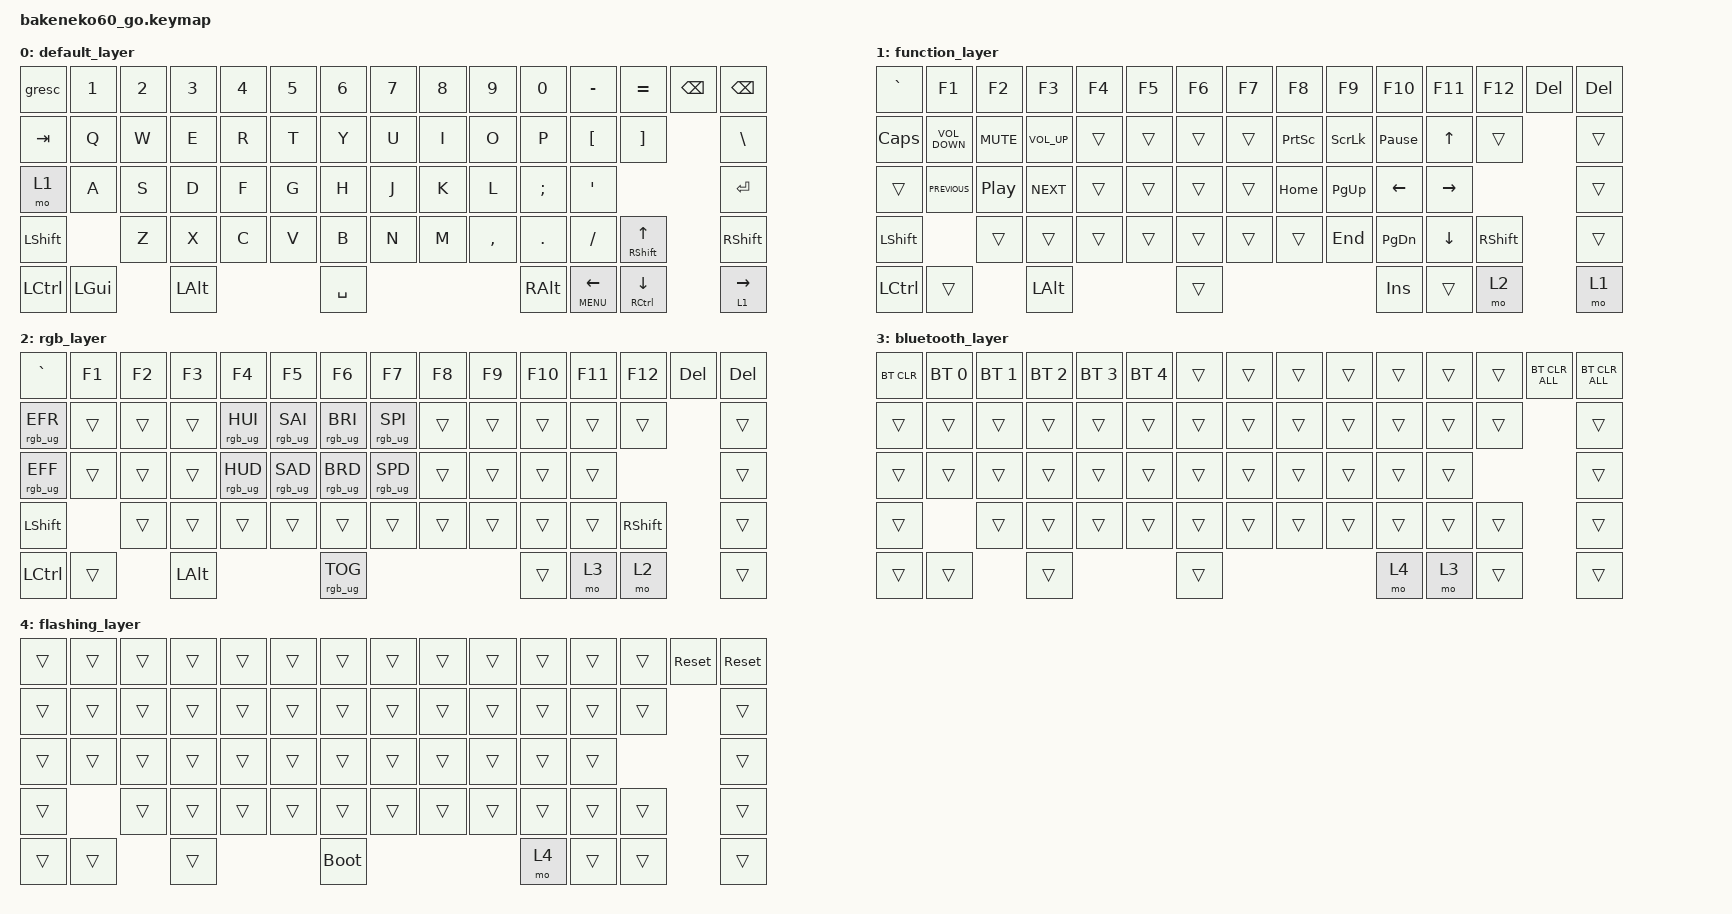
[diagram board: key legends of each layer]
/*
 * Copyright (c) 2023 Andrew Kannan
 *
 * SPDX-License-Identifier: MIT
 */

#include <behaviors.dtsi>
#include <dt-bindings/zmk/bt.h>
#include <dt-bindings/zmk/keys.h>
#include <dt-bindings/zmk/rgb.h>

/ {
    keymap {
        compatible = "zmk,keymap";

        default_layer {
            // ------------------------------------------------------------------------------------------
            // | ESC |  1  |  2  |  3  |  4  |  5  |  6  |  7  |  8  |  9  |  0  |  -  |  =  | BKSP|BKSP|
            // | TAB  |  Q  |  W  |  E  |  R  |  T  |  Y  |  U  |  I  |  O  |  P  |  [  |  ]  |   "|"   |
            // | CAPS  |  A  |  S  |  D  |  F  |  G  |  H  |  J  |  K  |  L  |  ;  |  '  |     ENTER    |
            // |  SHIFT  |  Z  |  X  |  C  |  V  |  B  |  N  |  M  |  ,  |  .  |  /  |  SHIFT  | MO(1)  |
            // |  CTL  |  WIN  |  ALT  |            SPACE              |  ALT  |  WIN  |  MO(1) |  CTL  |
            // ------------------------------------------------------------------------------------------

            bindings = <
&gresc     &kp N1    &kp N2  &kp N3    &kp N4  &kp N5  &kp N6     &kp N7  &kp N8  &kp N9     &kp N0    &kp MINUS        &kp EQUAL           &kp BSPC  &kp BSPC
&kp TAB    &kp Q     &kp W   &kp E     &kp R   &kp T   &kp Y      &kp U   &kp I   &kp O      &kp P     &kp LBKT         &kp RBKT                      &kp BSLH
&mo 1      &kp A     &kp S   &kp D     &kp F   &kp G   &kp H      &kp J   &kp K   &kp L      &kp SEMI  &kp SQT                                        &kp RET
&kp LSHFT            &kp Z   &kp X     &kp C   &kp V   &kp B      &kp N   &kp M   &kp COMMA  &kp DOT   &kp FSLH         &mt RSHFT UP_ARROW            &kp RIGHT_SHIFT
&kp LCTRL  &kp LGUI          &kp LALT                  &kp SPACE                             &kp RALT  &mt C_MENU LEFT  &mt RCTRL DOWN                &lt 1 RIGHT
            >;
        };

        function_layer {
            bindings = <
&kp GRAVE         &kp F1             &kp F2            &kp F3           &kp F4  &kp F5  &kp F6  &kp F7  &kp F8           &kp F9          &kp F10          &kp F11       &kp F12          &kp DELETE  &kp DEL
&kp CAPS          &kp C_VOLUME_DOWN  &kp C_MUTE        &kp C_VOLUME_UP  &trans  &trans  &trans  &trans  &kp PRINTSCREEN  &kp SCROLLLOCK  &kp PAUSE_BREAK  &kp UP_ARROW  &trans                       &trans
&trans            &kp C_PREVIOUS     &kp C_PLAY_PAUSE  &kp C_NEXT       &trans  &trans  &trans  &trans  &kp HOME         &kp PG_UP       &kp LEFT         &kp RIGHT                                  &trans
&kp LEFT_SHIFT                       &trans            &trans           &trans  &trans  &trans  &trans  &trans           &kp END         &kp PAGE_DOWN    &kp DOWN      &kp RIGHT_SHIFT              &trans
&kp LEFT_CONTROL  &trans                               &kp LEFT_ALT                     &trans                                           &kp INSERT       &trans        &mo 2                        &mo 1
            >;
        };

        rgb_layer {
            // ------------------------------------------------------------------------------------------------
            // |    `   | F1  | F2  | F3  | F4  | F5  | F6  | F7  | F8  | F9  | F10  | F11 | F12 |     | DEL  |
            // | EFCT REV|   |  UP |   | HUEUP | SATUP | BRIUP | SPDUP |      |  PGUP |    |     |    |       |
            // | EFCT FWD | LT |  DN  | RT | HUEDN | SATDN | BRIDN | SPDDN | HOME | PGDN | END  |  | BOOTLDR  |
            // |             |     |      |      |     |     |     |     |     |     |     |         |        |
            // |         |      |      |             TOG RGB                | PRT SCR |       |       |  MO(2)|
            // ------------------------------------------------------------------------------------------------

            bindings = <
&kp GRAVE         &kp F1  &kp F2  &kp F3        &kp F4           &kp F5           &kp F6           &kp F7           &kp F8  &kp F9  &kp F10  &kp F11  &kp F12          &kp DEL  &kp DEL
&rgb_ug RGB_EFR   &trans  &trans  &trans        &rgb_ug RGB_HUI  &rgb_ug RGB_SAI  &rgb_ug RGB_BRI  &rgb_ug RGB_SPI  &trans  &trans  &trans   &trans   &trans                    &trans
&rgb_ug RGB_EFF   &trans  &trans  &trans        &rgb_ug RGB_HUD  &rgb_ug RGB_SAD  &rgb_ug RGB_BRD  &rgb_ug RGB_SPD  &trans  &trans  &trans   &trans                             &trans
&kp LEFT_SHIFT            &trans  &trans        &trans           &trans           &trans           &trans           &trans  &trans  &trans   &trans   &kp RIGHT_SHIFT           &trans
&kp LEFT_CONTROL  &trans          &kp LEFT_ALT                                    &rgb_ug RGB_TOG                                   &trans   &mo 3    &mo 2                     &trans
            >;
        };

        bluetooth_layer {
            // ------------------------------------------------------------------------------------------------
            // | BT CLR |     |     |     |     |     |     |     |     |     |     |    |    |       |       |
            // |  BT 1   |   |     |   |       |       |       |       |   |     |    |     |     |           |
            // |   BT 2   |    |      |    |       |       |       |       |      |      |      |  |   Reset  |
            // |    BT 3     |     |      |      |     |     |     |     |     |     |     |         |        |
            // |   BT 4  |      |      |                                    |         |       |       |       |
            // ------------------------------------------------------------------------------------------------

            bindings = <
&bt BT_CLR  &bt BT_SEL 0  &bt BT_SEL 1  &bt BT_SEL 2  &bt BT_SEL 3  &bt BT_SEL 4  &trans  &trans  &trans  &trans  &trans  &trans  &trans  &bt BT_CLR_ALL  &bt BT_CLR_ALL
&trans      &trans        &trans        &trans        &trans        &trans        &trans  &trans  &trans  &trans  &trans  &trans  &trans                  &trans
&trans      &trans        &trans        &trans        &trans        &trans        &trans  &trans  &trans  &trans  &trans  &trans                          &trans
&trans                    &trans        &trans        &trans        &trans        &trans  &trans  &trans  &trans  &trans  &trans  &trans                  &trans
&trans      &trans                      &trans                                    &trans                          &mo 4   &mo 3   &trans                  &trans
            >;
        };

        flashing_layer {
            bindings = <
&trans  &trans  &trans  &trans  &trans  &trans  &trans       &trans  &trans  &trans  &trans  &trans  &trans  &sys_reset  &sys_reset
&trans  &trans  &trans  &trans  &trans  &trans  &trans       &trans  &trans  &trans  &trans  &trans  &trans              &trans
&trans  &trans  &trans  &trans  &trans  &trans  &trans       &trans  &trans  &trans  &trans  &trans                      &trans
&trans          &trans  &trans  &trans  &trans  &trans       &trans  &trans  &trans  &trans  &trans  &trans              &trans
&trans  &trans          &trans                  &bootloader                          &mo 4   &trans  &trans              &trans
            >;
        };
    };

    combos {
        compatible = "zmk,combos";

        combo_bt {
            timeout-ms = <50>;
            key-positions = <61 62>;
            bindings = <&mo 0>;
        };
    };
};
